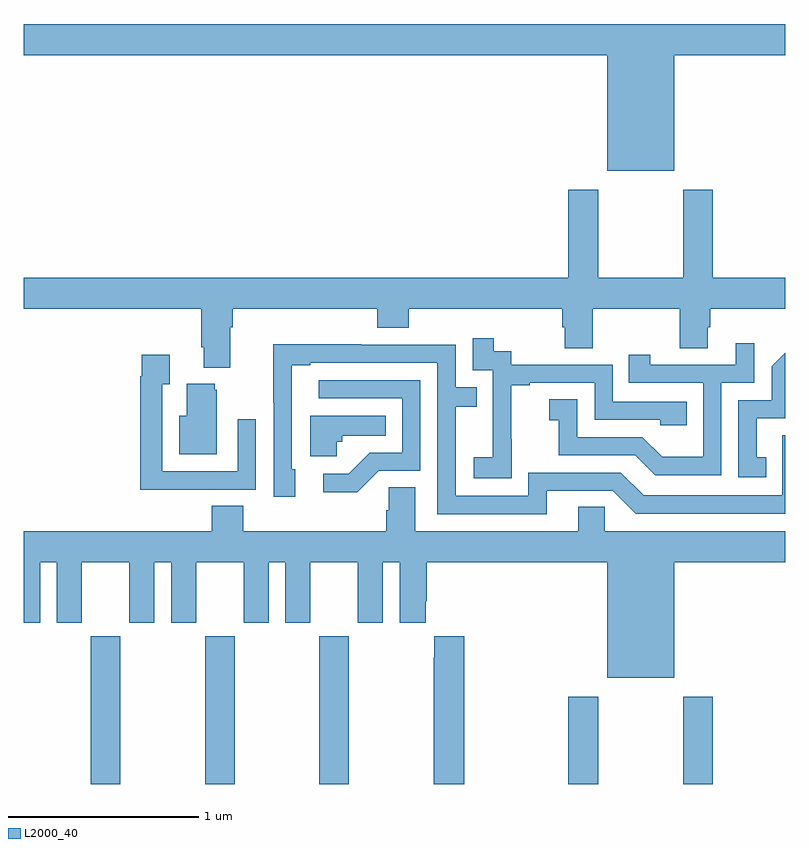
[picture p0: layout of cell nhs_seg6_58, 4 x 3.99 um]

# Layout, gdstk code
import gdstk
lib = gdstk.Library(unit=1e-6, precision=1e-09)
def R(c, l, rs):  # rectangles x0, y0, x1, y1
    for r in rs: c.add(gdstk.rectangle(r[:2], r[2:], *l))
def A(c, l, x, y, w, h, nx, ny, dx, dy):  # array of equal rectangles
    R(c, l, [(x+i*dx, y+j*dy, x+i*dx+w, y+j*dy+h) for i in range(nx) for j in range(ny)])
def P(c, l, *ps):  # polygons
    for p in ps: c.add(gdstk.Polygon(p, *l))
L2000_40 = (2000, 40)

nhs_seg6_58 = lib.new_cell('nhs_seg6_58')
A(nhs_seg6_58, L2000_40, 113.353, 951.5, 0.155, 0.776, 3, 1, 0.6, 0)
R(nhs_seg6_58, L2000_40, [(115.859,951.5,116.019,951.958), (116.464,951.5,116.619,951.958)])
P(nhs_seg6_58, L2000_40, [(116.416,955.328),(117,955.328),(117,955.492),(113,955.492),(113,955.328),(116.066,955.328),(116.066,954.722),(116.416,954.722)],
  [(114.085,953.9),(114.098,953.9),(114.098,953.996),(114.857,953.996),(114.857,953.897),(115.022,953.897),(115.022,953.996),(115.829,953.996),(115.829,953.898),(115.841,953.898),(115.841,953.788),(115.989,953.788),(115.989,953.996),(116.446,953.996),(116.446,953.788),(116.593,953.788),(116.593,953.898),(116.606,953.898),(116.606,953.996),(117,953.996),(117,954.16),(116.619,954.16),(116.619,954.622),(116.464,954.622),(116.464,954.16),(116.019,954.16),(116.019,954.622),(115.859,954.622),(115.859,954.16),(113,954.16),(113,953.996),(113.933,953.996),(113.933,953.794),(113.945,953.794),(113.945,953.687),(114.085,953.687)],
  [(115.563,953.311),(115.562,953.311),(115.562,953.595),(115.657,953.595),(115.657,953.607),(115.998,953.607),(115.998,953.412),(116.343,953.412),(116.343,953.385),(116.483,953.385),(116.483,953.508),(116.094,953.508),(116.094,953.703),(115.56,953.703),(115.56,953.772),(115.468,953.772),(115.468,953.842),(115.359,953.842),(115.359,953.673),(115.464,953.673),(115.464,953.444),(115.463,953.444),(115.463,953.215),(115.365,953.215),(115.365,953.105),(115.563,953.105)],
  [(116.664,953.607),(116.838,953.607),(116.838,953.815),(116.741,953.815),(116.741,953.703),(116.29,953.703),(116.29,953.755),(116.179,953.755),(116.179,953.607),(116.568,953.607),(116.568,953.218),(116.354,953.218),(116.25,953.322),(115.908,953.322),(115.908,953.521),(115.761,953.521),(115.761,953.411),(115.81,953.411),(115.81,953.226),(116.213,953.226),(116.318,953.121),(116.664,953.121)],
  [(115.747,953.04),(116.094,953.04),(116.214,952.92),(117,952.92),(117,953.331),(116.985,953.331),(116.985,953.016),(116.256,953.016),(116.136,953.136),(115.65,953.136),(115.65,953.013),(115.269,953.013),(115.269,953.482),(115.379,953.482),(115.379,953.583),(115.269,953.583),(115.269,953.808),(114.773,953.808),(114.773,953.81),(114.31,953.81),(114.31,953.503),(114.312,953.503),(114.312,953.01),(114.427,953.01),(114.427,953.154),(114.408,953.154),(114.408,953.7),(114.505,953.7),(114.505,953.712),(115.173,953.712),(115.173,952.917),(115.747,952.917)],
  [(116.9,953.217),(116.851,953.217),(116.851,953.421),(117,953.421),(117,953.766),(116.928,953.694),(116.928,953.517),(116.754,953.517),(116.754,953.112),(116.9,953.112)],
  [(113.903,953.046),(114.219,953.046),(114.219,953.416),(114.123,953.416),(114.123,953.142),(113.727,953.142),(113.727,953.599),(113.767,953.599),(113.767,953.755),(113.619,953.755),(113.619,953.642),(113.611,953.642),(113.611,953.045),(113.903,953.045)],
  [(114.864,953.145),(115.083,953.145),(115.083,953.622),(114.549,953.622),(114.549,953.526),(114.987,953.526),(114.987,953.241),(114.818,953.241),(114.707,953.13),(114.573,953.13),(114.573,953.033),(114.751,953.033)],
  [(114.013,953.571),(114.002,953.571),(114.002,953.602),(113.855,953.602),(113.855,953.434),(113.816,953.434),(113.816,953.231),(114.013,953.231)],
  [(114.645,953.298),(114.672,953.298),(114.672,953.33),(114.902,953.33),(114.902,953.434),(114.506,953.434),(114.506,953.222),(114.645,953.222)],
  [(116.416,952.664),(117,952.664),(117,952.828),(116.052,952.828),(116.052,952.955),(115.913,952.955),(115.913,952.828),(115.057,952.828),(115.057,953.06),(114.918,953.06),(114.918,952.937),(114.905,952.937),(114.905,952.828),(114.152,952.828),(114.152,952.961),(113.987,952.961),(113.987,952.828),(113,952.828),(113,952.347),(113.086,952.347),(113.086,952.664),(113.174,952.664),(113.174,952.347),(113.305,952.347),(113.305,952.664),(113.555,952.664),(113.555,952.347),(113.686,952.347),(113.686,952.664),(113.774,952.664),(113.774,952.347),(113.905,952.347),(113.905,952.664),(114.155,952.664),(114.155,952.347),(114.286,952.347),(114.286,952.664),(114.374,952.664),(114.374,952.347),(114.505,952.347),(114.505,952.664),(114.755,952.664),(114.755,952.347),(114.886,952.347),(114.886,952.664),(114.974,952.664),(114.974,952.347),(115.111,952.347),(115.111,952.459),(115.118,952.459),(115.118,952.664),(116.066,952.664),(116.066,952.058),(116.416,952.058)],
  [(115.313,952.276),(115.157,952.276),(115.157,952.163),(115.153,952.163),(115.153,951.5),(115.313,951.5)])

lib.write_gds('nhs_seg6_58.gds')
